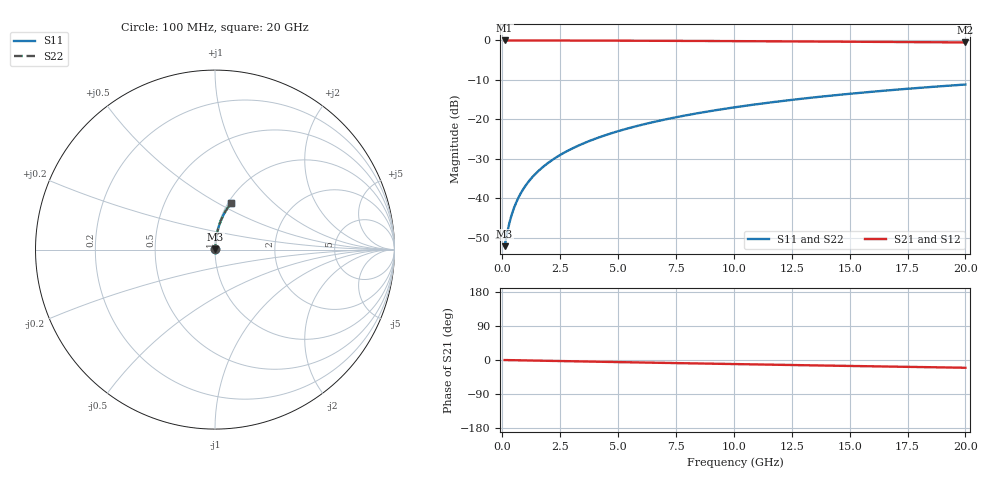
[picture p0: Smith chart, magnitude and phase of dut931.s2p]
! Touchstone file exported from HFSS 2024.1.0
!  File:  C:/UserFiles/LocalFiles/RDL_TSV_Batchsim/temp_RDL_bottom_931_1779941368.aedt
!  Generated:  12:12:15 PM May 28, 2026
!  Design:  RDL_bottom
!  Project:  temp_RDL_bottom_931_1779941368
!  Setup:  Setup1
!  Solution:  Sweep
! Variables:
!  dtsv = 10.80580581um
!  hbump = 3um
!  htsv = 82.06um
!  ldown = 204.04um
!  lrdl = 100um
!  p = 40
!  p1 = 53.6um
!  rhole = 1um
!  t = 450um
!  tdown = 3.47um
!  trdl = 3.915915916um
!  wdown = 11.07um
!  wrdl = 20um
# GHz S MA R 50.000000
! Terminal data exported
! Port[1] = RDL1_T1
! Port[2] = RDL1_T2
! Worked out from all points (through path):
!   200 points, 100 MHz to 20 GHz, reference 50 ohm
!   highest |S21| = -0.02 dB at 100 MHz (marker M1); lowest = -0.5 dB at 20 GHz (marker M2)
!   group delay of S21, straight-line fit = 2.84 ps
!   lowest |S11| = -52.1 dB at 100 MHz (marker M3), VSWR 1.00, Z = 50.2 + j0.146 ohm
!   |S11| at or under -10 dB: start of sweep to end of sweep
!   |S22| runs from -52.1 to -11.2 dB; largest |S21 - S12| = 5.1e-15
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0.1  0.002491 35.7  0.998 -0.1  0.998 -0.1  0.002491 35.7
! Gamma 0 0 0 0
! Port Impedance 50 0 50 0
0.2  0.00355 54.8  0.998 -0.2  0.998 -0.2  0.00355 54.8
0.3  0.004813 64.4  0.9979 -0.3  0.9979 -0.3  0.004813 64.4
0.4  0.006148 69.8  0.9979 -0.5  0.9979 -0.5  0.006148 69.8
0.5  0.007512 73.2  0.9978 -0.6  0.9978 -0.6  0.007512 73.2
0.6  0.008889 75.6  0.9978 -0.7  0.9978 -0.7  0.008889 75.6
0.8  0.01166 78.5  0.9977 -0.9  0.9977 -0.9  0.01166 78.5
1.1  0.01584 81.0  0.9975 -1.2  0.9975 -1.2  0.01584 81.0
1.5  0.02144 82.7  0.9972 -1.7  0.9972 -1.7  0.02144 82.7
1.8  0.02566 83.4  0.997 -2.0  0.997 -2.0  0.02566 83.4
2.1  0.02988 83.9  0.9967 -2.3  0.9967 -2.3  0.02988 83.9
2.7  0.03835 84.3  0.996 -3.0  0.996 -3.0  0.03835 84.3
3.5  0.04967 84.4  0.9949 -3.9  0.9949 -3.9  0.04967 84.4
4.2  0.05959 84.2  0.9938 -4.6  0.9938 -4.6  0.05959 84.2
5  0.07095 83.8  0.9923 -5.5  0.9923 -5.5  0.07095 83.8
5.9  0.08374 83.3  0.9903 -6.5  0.9903 -6.5  0.08374 83.3
6.8  0.09653 82.7  0.9882 -7.4  0.9882 -7.4  0.09653 82.7
8.3  0.1178 81.5  0.9842 -9.0  0.9842 -9.0  0.1178 81.5
10.1  0.1432 79.9  0.9789 -10.9  0.9789 -10.9  0.1432 79.9
13.4  0.1891 76.9  0.9679 -14.2  0.9679 -14.2  0.1891 76.9
16.7  0.2337 73.8  0.9556 -17.4  0.9556 -17.4  0.2337 73.8
20  0.2765 70.7  0.9421 -20.5  0.9421 -20.5  0.2765 70.7
